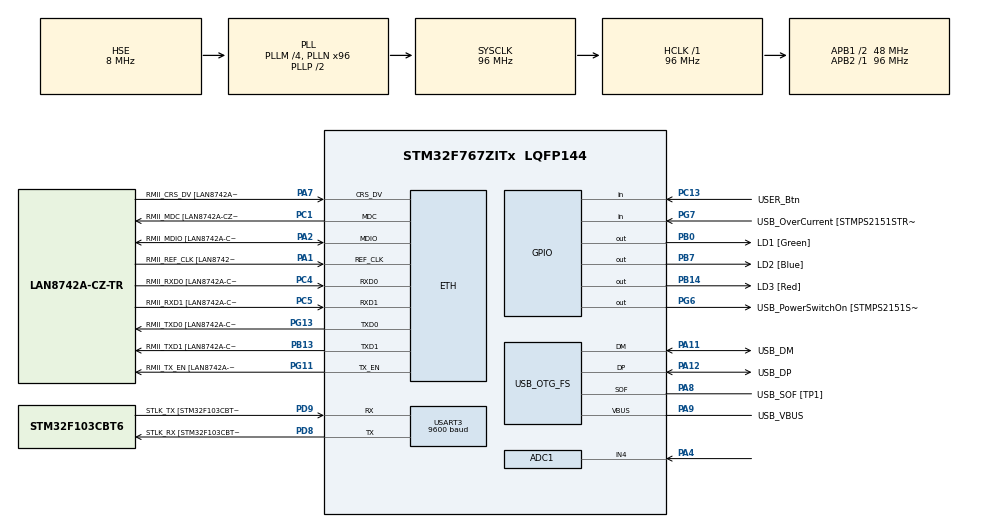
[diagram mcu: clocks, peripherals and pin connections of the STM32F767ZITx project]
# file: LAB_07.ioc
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ADC1.Channel-1\#ChannelRegularConversion=ADC_CHANNEL_4
ADC1.NbrOfConversionFlag=1
ADC1.Rank-1\#ChannelRegularConversion=1
ADC1.SamplingTime-1\#ChannelRegularConversion=ADC_SAMPLETIME_3CYCLES
ADC1.master=1
ETH.MediaInterface=HAL_ETH_RMII_MODE
ETH.PHY_Name=LAN8742A_PHY_ADDRESS
ETH.PHY_Value=0
ETH.PhyAddress=0
Mcu.Family=STM32F7
Mcu.Name=STM32F767ZITx
Mcu.Package=LQFP144
NVIC.PriorityGroup=NVIC_PRIORITYGROUP_4
PA1.GPIO_Label=RMII_REF_CLK [LAN8742A-CZ-TR_REFCLK0]
PA1.Mode=RMII
PA1.Signal=ETH_REF_CLK
PA10.GPIO_Label=USB_ID
PA10.Signal=USB_OTG_FS_ID
PA11.GPIO_Label=USB_DM
PA11.Mode=Device_Only
PA11.Signal=USB_OTG_FS_DM
PA12.GPIO_Label=USB_DP
PA12.Mode=Device_Only
PA12.Signal=USB_OTG_FS_DP
PA13.GPIO_Label=TMS
PA13.Mode=Serial_Wire
PA13.Signal=SYS_JTMS-SWDIO
PA14.GPIO_Label=TCK
PA14.Mode=Serial_Wire
PA14.Signal=SYS_JTCK-SWCLK
PA2.GPIO_Label=RMII_MDIO [LAN8742A-CZ-TR_MDIO]
PA2.Mode=RMII
PA2.Signal=ETH_MDIO
PA4.Signal=ADCx_IN4
PA7.GPIO_Label=RMII_CRS_DV [LAN8742A-CZ-TR_CRS_DV]
PA7.Mode=RMII
PA7.Signal=ETH_CRS_DV
PA8.GPIO_Label=USB_SOF [TP1]
PA8.Mode=Activate_SOF_FS
PA8.Signal=USB_OTG_FS_SOF
PA9.GPIO_Label=USB_VBUS
PA9.Mode=Activate_VBUS
PA9.Signal=USB_OTG_FS_VBUS
PB0.GPIO_Label=LD1 [Green]
PB0.Signal=GPIO_Output
PB13.GPIO_Label=RMII_TXD1 [LAN8742A-CZ-TR_TXD1]
PB13.Mode=RMII
PB13.Signal=ETH_TXD1
PB14.GPIO_Label=LD3 [Red]
PB14.Signal=GPIO_Output
PB3.GPIO_Label=SWO
PB3.Signal=SYS_JTDO-SWO
PB7.GPIO_Label=LD2 [Blue]
PB7.Signal=GPIO_Output
PC1.GPIO_Label=RMII_MDC [LAN8742A-CZ-TR_MDC]
PC1.Mode=RMII
PC1.Signal=ETH_MDC
PC13.GPIO_Label=USER_Btn
PC13.Signal=GPIO_Input
PC14/OSC32_IN.Mode=LSE-External-Oscillator
PC14/OSC32_IN.Signal=RCC_OSC32_IN
PC15/OSC32_OUT.Mode=LSE-External-Oscillator
PC15/OSC32_OUT.Signal=RCC_OSC32_OUT
PC4.GPIO_Label=RMII_RXD0 [LAN8742A-CZ-TR_RXD0]
PC4.Mode=RMII
PC4.Signal=ETH_RXD0
PC5.GPIO_Label=RMII_RXD1 [LAN8742A-CZ-TR_RXD1]
PC5.Mode=RMII
PC5.Signal=ETH_RXD1
PD8.GPIO_Label=STLK_RX [STM32F103CBT6_PA3]
PD8.Mode=Asynchronous
PD8.Signal=USART3_TX
PD9.GPIO_Label=STLK_TX [STM32F103CBT6_PA2]
PD9.Mode=Asynchronous
PD9.Signal=USART3_RX
PG11.GPIO_Label=RMII_TX_EN [LAN8742A-CZ-TR_TXEN]
PG11.Mode=RMII
PG11.Signal=ETH_TX_EN
PG13.GPIO_Label=RMII_TXD0 [LAN8742A-CZ-TR_TXD0]
PG13.Mode=RMII
PG13.Signal=ETH_TXD0
PG6.GPIO_Label=USB_PowerSwitchOn [STMPS2151STR_EN]
PG6.Signal=GPIO_Output
PG7.GPIO_Label=USB_OverCurrent [STMPS2151STR_FAULT]
PG7.Signal=GPIO_Input
PH0/OSC_IN.GPIO_Label=MCO [STM32F103CBT6_PA8]
PH0/OSC_IN.Mode=HSE-External-Clock-Source
PH0/OSC_IN.Signal=RCC_OSC_IN
PH1/OSC_OUT.Mode=HSE-External-Clock-Source
PH1/OSC_OUT.Signal=RCC_OSC_OUT
ProjectManager.HeapSize=0x200
ProjectManager.StackSize=0x400
ProjectManager.TargetToolchain=STM32CubeIDE
RCC.48MHZClocksFreq_Value=24000000
RCC.AHBFreq_Value=96000000
RCC.APB1CLKDivider=RCC_HCLK_DIV2
RCC.APB1Freq_Value=48000000
RCC.APB1TimFreq_Value=96000000
RCC.APB2Freq_Value=96000000
RCC.APB2TimFreq_Value=96000000
RCC.CortexFreq_Value=96000000
RCC.HCLKFreq_Value=96000000
RCC.HSE_VALUE=8000000
RCC.HSI_VALUE=16000000
RCC.PLLM=4
RCC.PLLMUL=RCC_PLL_MUL9
RCC.PLLN=96
RCC.PLLQ=4
RCC.PRESCALERUSB=RCC_USBCLKSOURCE_PLL_DIV1_5
RCC.SYSCLKFreq_VALUE=96000000
RCC.SYSCLKSource=RCC_SYSCLKSOURCE_PLLCLK
RCC.SYSCLKSourceVirtual=RCC_SYSCLKSOURCE_PLLCLK
RCC.USBFreq_Value=48000000
RCC.VCOOutputFreq_Value=192000000
SH.ADCx_IN4.0=ADC1_IN4,IN4
USART3.BaudRate=9600
USART3.VirtualMode-Asynchronous=VM_ASYNC
USB_OTG_FS.VirtualMode=Device_Only
board=NUCLEO-F767ZI

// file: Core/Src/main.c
/* USER CODE BEGIN Header */
/**
 ******************************************************************************
 * @file           : main.c
 * @brief          : Main program body
 ******************************************************************************
 * @attention
 *
 * Copyright (c) 2025 STMicroelectronics.
 * All rights reserved.
 *
 * This software is licensed under terms that can be found in the LICENSE file
 * in the root directory of this software component.
 * If no LICENSE file comes with this software, it is provided AS-IS.
 *
 ******************************************************************************
 */
/* USER CODE END Header */
#include "main.h"
#include "string.h"

/* USER CODE BEGIN Includes */

#include <math.h>

/* USER CODE END Includes */

#if defined ( __ICCARM__ ) /*!< IAR Compiler */
#pragma location=0x2007c000
ETH_DMADescTypeDef  DMARxDscrTab[ETH_RX_DESC_CNT]; /* Ethernet Rx DMA Descriptors */
#pragma location=0x2007c0a0
ETH_DMADescTypeDef  DMATxDscrTab[ETH_TX_DESC_CNT]; /* Ethernet Tx DMA Descriptors */

#elif defined ( __CC_ARM )  /* MDK ARM Compiler */

__attribute__((at(0x2007c000))) ETH_DMADescTypeDef  DMARxDscrTab[ETH_RX_DESC_CNT]; /* Ethernet Rx DMA Descriptors */
__attribute__((at(0x2007c0a0))) ETH_DMADescTypeDef  DMATxDscrTab[ETH_TX_DESC_CNT]; /* Ethernet Tx DMA Descriptors */

#elif defined ( __GNUC__ ) /* GNU Compiler */

ETH_DMADescTypeDef DMARxDscrTab[ETH_RX_DESC_CNT] __attribute__((section(".RxDecripSection"))); /* Ethernet Rx DMA Descriptors */
ETH_DMADescTypeDef DMATxDscrTab[ETH_TX_DESC_CNT] __attribute__((section(".TxDecripSection")));   /* Ethernet Tx DMA Descriptors */
#endif

ETH_TxPacketConfig TxConfig;

ADC_HandleTypeDef hadc1;

ETH_HandleTypeDef heth;

UART_HandleTypeDef huart3;

PCD_HandleTypeDef hpcd_USB_OTG_FS;

void SystemClock_Config(void);
static void MX_GPIO_Init(void);
static void MX_ETH_Init(void);
static void MX_USART3_UART_Init(void);
static void MX_USB_OTG_FS_PCD_Init(void);
static void MX_ADC1_Init(void);

/* USER CODE BEGIN 0 */

#define ZADANIE 1

GPIO_PinState USER_Btn_State = GPIO_PIN_RESET;
GPIO_PinState USER_Btn_StatePrev = GPIO_PIN_RESET;
GPIO_PinState LD1_State = GPIO_PIN_RESET;

uint32_t adc_raw = 0;
uint32_t adc_mV = 0;

uint32_t adc_raw1 = 0, adc_raw2 = 0;
uint32_t adc_mV1 = 0, adc_mV2 = 0;

void zad1() {

	HAL_ADC_Start(&hadc1);

	HAL_ADC_PollForConversion(&hadc1, HAL_MAX_DELAY);

	adc_raw = HAL_ADC_GetValue(&hadc1);

	adc_mV = (adc_raw * 3300) / 4095;

	HAL_Delay(5);
}

void zad2() {
	if (adc_mV <= 1000) {
		HAL_GPIO_WritePin(GPIOB, LD1_Pin, GPIO_PIN_RESET);
		HAL_GPIO_WritePin(GPIOB, LD2_Pin, GPIO_PIN_RESET);
		HAL_GPIO_WritePin(GPIOB, LD3_Pin, GPIO_PIN_RESET);
	} else if (adc_mV > 1000 && adc_mV <= 2000) {
		HAL_GPIO_WritePin(GPIOB, LD1_Pin, GPIO_PIN_SET);
		HAL_GPIO_WritePin(GPIOB, LD2_Pin, GPIO_PIN_RESET);
		HAL_GPIO_WritePin(GPIOB, LD3_Pin, GPIO_PIN_RESET);
	} else if (adc_mV > 2000 && adc_mV <= 3000) {
		HAL_GPIO_WritePin(GPIOB, LD1_Pin, GPIO_PIN_SET);
		HAL_GPIO_WritePin(GPIOB, LD2_Pin, GPIO_PIN_SET);
		HAL_GPIO_WritePin(GPIOB, LD3_Pin, GPIO_PIN_RESET);
	} else if (adc_mV > 3000) {
		HAL_GPIO_WritePin(GPIOB, LD1_Pin, GPIO_PIN_SET);
		HAL_GPIO_WritePin(GPIOB, LD2_Pin, GPIO_PIN_SET);
		HAL_GPIO_WritePin(GPIOB, LD3_Pin, GPIO_PIN_SET);
	}
}

void zad4() {
	// kanał 3
	HAL_ADC_Start(&hadc1);
	HAL_ADC_PollForConversion(&hadc1, HAL_MAX_DELAY);
	adc_raw1 = HAL_ADC_GetValue(&hadc1);
	adc_mV1 = (adc_raw1 * 3300) / 4095;
	HAL_ADC_Stop(&hadc1);

	// kanał 4
	HAL_ADC_Start(&hadc1);
	HAL_ADC_PollForConversion(&hadc1, HAL_MAX_DELAY);
	adc_raw2 = HAL_ADC_GetValue(&hadc1);
	adc_mV2 = (adc_raw2 * 3300) / 4095;
	HAL_ADC_Stop(&hadc1);
}

float R5 = 5000; //5k ohm
float RLDR;
float ldr_gamma = 0.5;
float lux;

void zad5() {

	HAL_ADC_Start(&hadc1);

	HAL_ADC_PollForConversion(&hadc1, HAL_MAX_DELAY);

	adc_raw = HAL_ADC_GetValue(&hadc1);

	adc_mV = (adc_raw * 3300) / 4095;

	float adc_mV_unscaled = adc_mV / 1.5;

	RLDR = R5 * (adc_mV_unscaled) / (3300 - adc_mV_unscaled);

	lux = (10.0f * pow(7500.0f, 1.0f / ldr_gamma)) / pow(RLDR, 1.0f / ldr_gamma);

//	HAL_Delay(5);

}

float lux_avg;
float adc_avg;
float sum;
//int n = 1000;
float adc_mV_avg;

//void zad5_goat() {
//
//	for (int i = 0; i < n; i++) {
//		HAL_ADC_Start(&hadc1);
//
//		HAL_ADC_PollForConversion(&hadc1, HAL_MAX_DELAY);
//
//		adc_raw = HAL_ADC_GetValue(&hadc1);
//
//		sum += adc_raw;
//
//	}
//
//	adc_avg = sum / n;
//	sum = 0;
//
//	adc_mV_avg = (adc_avg * 3300) / 4095;
//
//	float adc_mV_unscaled = adc_mV_avg / 1.5;
//
//	RLDR = R5 * (adc_mV_unscaled) / (3300 - adc_mV_unscaled);
//
//	lux_avg = (10.0f * pow(7500.0f, 1.0f / ldr_gamma)) / pow(RLDR, 1.0f / ldr_gamma);
//
////	HAL_Delay(5);
//
//}

int n = 100;

void zad5_goat() {

	float adc_samples[n];
	for (int i = 0; i < n; i++) {
		HAL_ADC_Start(&hadc1);
		HAL_ADC_PollForConversion(&hadc1, HAL_MAX_DELAY);
		adc_samples[i] = HAL_ADC_GetValue(&hadc1);
	}

	for (int i = 0; i < n - 1; i++)
		for (int j = i + 1; j < n; j++)
			if (adc_samples[i] > adc_samples[j]) {
				float tmp = adc_samples[i];
				adc_samples[i] = adc_samples[j];
				adc_samples[j] = tmp;
			}

	float adc_avg = adc_samples[n / 50];

	adc_mV_avg = (adc_avg * 3300) / 4095;

	float adc_mV_unscaled = adc_mV_avg / 1.5;

	RLDR = R5 * (adc_mV_unscaled) / (3300 - adc_mV_unscaled);

	lux_avg = (10.0f * pow(7500.0f, 1.0f / ldr_gamma)) / pow(RLDR, 1.0f / ldr_gamma);

}

/* USER CODE END 0 */

int main(void)
{

  /* MCU Configuration--------------------------------------------------------*/

  /* Reset of all peripherals, Initializes the Flash interface and the Systick. */
  HAL_Init();

  /* Configure the system clock */
  SystemClock_Config();

  /* Initialize all configured peripherals */
  MX_GPIO_Init();
  MX_ETH_Init();
  MX_USART3_UART_Init();
  MX_USB_OTG_FS_PCD_Init();
  MX_ADC1_Init();

  /* Infinite loop */
  /* USER CODE BEGIN WHILE */

	while (1) {
//		HAL_Delay(10);
//		HAL_UART_Transmit(&huart3, "test", strlen("test"), HAL_MAX_DELAY);
#if ZADANIE == 1
		zad1();
#endif

#if ZADANIE == 2
		zad1();
		zad2();
#endif

#if ZADANIE == 3
		USER_Btn_State = HAL_GPIO_ReadPin(USER_Btn_GPIO_Port, USER_Btn_Pin);
		if ((USER_Btn_State == GPIO_PIN_SET) && (USER_Btn_StatePrev == GPIO_PIN_RESET)) {
			zad1();

			char txBuffer[20];

			sprintf(txBuffer, "%lu\r\n", adc_mV);
			HAL_UART_Transmit(&huart3, txBuffer, strlen(txBuffer), HAL_MAX_DELAY);
		}
		USER_Btn_StatePrev = USER_Btn_State;
		HAL_Delay(10);
#endif
#if ZADANIE == 4
		zad4();
#endif
#if ZADANIE == 5
		zad5();
		zad5_goat();
#endif
	}

    /* USER CODE END WHILE */

}

void SystemClock_Config(void)
{
  RCC_OscInitTypeDef RCC_OscInitStruct = {0};
  RCC_ClkInitTypeDef RCC_ClkInitStruct = {0};

  /** Configure LSE Drive Capability
  */
  HAL_PWR_EnableBkUpAccess();

  /** Configure the main internal regulator output voltage
  */
  __HAL_RCC_PWR_CLK_ENABLE();
  __HAL_PWR_VOLTAGESCALING_CONFIG(PWR_REGULATOR_VOLTAGE_SCALE3);

  /** Initializes the RCC Oscillators according to the specified parameters
  * in the RCC_OscInitTypeDef structure.
  */
  RCC_OscInitStruct.OscillatorType = RCC_OSCILLATORTYPE_HSE;
  RCC_OscInitStruct.HSEState = RCC_HSE_BYPASS;
  RCC_OscInitStruct.PLL.PLLState = RCC_PLL_ON;
  RCC_OscInitStruct.PLL.PLLSource = RCC_PLLSOURCE_HSE;
  RCC_OscInitStruct.PLL.PLLM = 4;
  RCC_OscInitStruct.PLL.PLLN = 96;
  RCC_OscInitStruct.PLL.PLLP = RCC_PLLP_DIV2;
  RCC_OscInitStruct.PLL.PLLQ = 4;
  RCC_OscInitStruct.PLL.PLLR = 2;
  if (HAL_RCC_OscConfig(&RCC_OscInitStruct) != HAL_OK)
  {
    Error_Handler();
  }

  /** Activate the Over-Drive mode
  */
  if (HAL_PWREx_EnableOverDrive() != HAL_OK)
  {
    Error_Handler();
  }

  /** Initializes the CPU, AHB and APB buses clocks
  */
  RCC_ClkInitStruct.ClockType = RCC_CLOCKTYPE_HCLK|RCC_CLOCKTYPE_SYSCLK
                              |RCC_CLOCKTYPE_PCLK1|RCC_CLOCKTYPE_PCLK2;
  RCC_ClkInitStruct.SYSCLKSource = RCC_SYSCLKSOURCE_PLLCLK;
  RCC_ClkInitStruct.AHBCLKDivider = RCC_SYSCLK_DIV1;
  RCC_ClkInitStruct.APB1CLKDivider = RCC_HCLK_DIV2;
  RCC_ClkInitStruct.APB2CLKDivider = RCC_HCLK_DIV1;

  if (HAL_RCC_ClockConfig(&RCC_ClkInitStruct, FLASH_LATENCY_3) != HAL_OK)
  {
    Error_Handler();
  }
}

static void MX_ADC1_Init(void)
{

  ADC_ChannelConfTypeDef sConfig = {0};

  /** Configure the global features of the ADC (Clock, Resolution, Data Alignment and number of conversion)
  */
  hadc1.Instance = ADC1;
  hadc1.Init.ClockPrescaler = ADC_CLOCK_SYNC_PCLK_DIV4;
  hadc1.Init.Resolution = ADC_RESOLUTION_12B;
  hadc1.Init.ScanConvMode = ADC_SCAN_DISABLE;
  hadc1.Init.ContinuousConvMode = DISABLE;
  hadc1.Init.DiscontinuousConvMode = DISABLE;
  hadc1.Init.ExternalTrigConvEdge = ADC_EXTERNALTRIGCONVEDGE_NONE;
  hadc1.Init.ExternalTrigConv = ADC_SOFTWARE_START;
  hadc1.Init.DataAlign = ADC_DATAALIGN_RIGHT;
  hadc1.Init.NbrOfConversion = 1;
  hadc1.Init.DMAContinuousRequests = DISABLE;
  hadc1.Init.EOCSelection = ADC_EOC_SINGLE_CONV;
  if (HAL_ADC_Init(&hadc1) != HAL_OK)
  {
    Error_Handler();
  }

  /** Configure for the selected ADC regular channel its corresponding rank in the sequencer and its sample time.
  */
  sConfig.Channel = ADC_CHANNEL_4;
  sConfig.Rank = ADC_REGULAR_RANK_1;
  sConfig.SamplingTime = ADC_SAMPLETIME_3CYCLES;
  if (HAL_ADC_ConfigChannel(&hadc1, &sConfig) != HAL_OK)
  {
    Error_Handler();
  }

}

static void MX_ETH_Init(void)
{

   static uint8_t MACAddr[6];

  heth.Instance = ETH;
  MACAddr[0] = 0x00;
  MACAddr[1] = 0x80;
  MACAddr[2] = 0xE1;
  MACAddr[3] = 0x00;
  MACAddr[4] = 0x00;
  MACAddr[5] = 0x00;
  heth.Init.MACAddr = &MACAddr[0];
  heth.Init.MediaInterface = HAL_ETH_RMII_MODE;
  heth.Init.TxDesc = DMATxDscrTab;
  heth.Init.RxDesc = DMARxDscrTab;
  heth.Init.RxBuffLen = 1524;

  if (HAL_ETH_Init(&heth) != HAL_OK)
  {
    Error_Handler();
  }

  memset(&TxConfig, 0 , sizeof(ETH_TxPacketConfig));
  TxConfig.Attributes = ETH_TX_PACKETS_FEATURES_CSUM | ETH_TX_PACKETS_FEATURES_CRCPAD;
  TxConfig.ChecksumCtrl = ETH_CHECKSUM_IPHDR_PAYLOAD_INSERT_PHDR_CALC;
  TxConfig.CRCPadCtrl = ETH_CRC_PAD_INSERT;

}

static void MX_USART3_UART_Init(void)
{

  huart3.Instance = USART3;
  huart3.Init.BaudRate = 9600;
  huart3.Init.WordLength = UART_WORDLENGTH_8B;
  huart3.Init.StopBits = UART_STOPBITS_1;
  huart3.Init.Parity = UART_PARITY_NONE;
  huart3.Init.Mode = UART_MODE_TX_RX;
  huart3.Init.HwFlowCtl = UART_HWCONTROL_NONE;
  huart3.Init.OverSampling = UART_OVERSAMPLING_16;
  huart3.Init.OneBitSampling = UART_ONE_BIT_SAMPLE_DISABLE;
  huart3.AdvancedInit.AdvFeatureInit = UART_ADVFEATURE_NO_INIT;
  if (HAL_UART_Init(&huart3) != HAL_OK)
  {
    Error_Handler();
  }

}

static void MX_USB_OTG_FS_PCD_Init(void)
{

  hpcd_USB_OTG_FS.Instance = USB_OTG_FS;
  hpcd_USB_OTG_FS.Init.dev_endpoints = 6;
  hpcd_USB_OTG_FS.Init.speed = PCD_SPEED_FULL;
  hpcd_USB_OTG_FS.Init.dma_enable = DISABLE;
  hpcd_USB_OTG_FS.Init.phy_itface = PCD_PHY_EMBEDDED;
  hpcd_USB_OTG_FS.Init.Sof_enable = ENABLE;
  hpcd_USB_OTG_FS.Init.low_power_enable = DISABLE;
  hpcd_USB_OTG_FS.Init.lpm_enable = DISABLE;
  hpcd_USB_OTG_FS.Init.vbus_sensing_enable = ENABLE;
  hpcd_USB_OTG_FS.Init.use_dedicated_ep1 = DISABLE;
  if (HAL_PCD_Init(&hpcd_USB_OTG_FS) != HAL_OK)
  {
    Error_Handler();
  }

}

static void MX_GPIO_Init(void)
{
  GPIO_InitTypeDef GPIO_InitStruct = {0};

  /* GPIO Ports Clock Enable */
  __HAL_RCC_GPIOC_CLK_ENABLE();
  __HAL_RCC_GPIOH_CLK_ENABLE();
  __HAL_RCC_GPIOA_CLK_ENABLE();
  __HAL_RCC_GPIOB_CLK_ENABLE();
  __HAL_RCC_GPIOD_CLK_ENABLE();
  __HAL_RCC_GPIOG_CLK_ENABLE();

  /*Configure GPIO pin Output Level */
  HAL_GPIO_WritePin(GPIOB, LD1_Pin|LD3_Pin|LD2_Pin, GPIO_PIN_RESET);

  /*Configure GPIO pin Output Level */
  HAL_GPIO_WritePin(USB_PowerSwitchOn_GPIO_Port, USB_PowerSwitchOn_Pin, GPIO_PIN_RESET);

  /*Configure GPIO pin : USER_Btn_Pin */
  GPIO_InitStruct.Pin = USER_Btn_Pin;
  GPIO_InitStruct.Mode = GPIO_MODE_INPUT;
  GPIO_InitStruct.Pull = GPIO_NOPULL;
  HAL_GPIO_Init(USER_Btn_GPIO_Port, &GPIO_InitStruct);

  /*Configure GPIO pins : LD1_Pin LD3_Pin LD2_Pin */
  GPIO_InitStruct.Pin = LD1_Pin|LD3_Pin|LD2_Pin;
  GPIO_InitStruct.Mode = GPIO_MODE_OUTPUT_PP;
  GPIO_InitStruct.Pull = GPIO_NOPULL;
  GPIO_InitStruct.Speed = GPIO_SPEED_FREQ_LOW;
  HAL_GPIO_Init(GPIOB, &GPIO_InitStruct);

  /*Configure GPIO pin : USB_PowerSwitchOn_Pin */
  GPIO_InitStruct.Pin = USB_PowerSwitchOn_Pin;
  GPIO_InitStruct.Mode = GPIO_MODE_OUTPUT_PP;
  GPIO_InitStruct.Pull = GPIO_NOPULL;
  GPIO_InitStruct.Speed = GPIO_SPEED_FREQ_LOW;
  HAL_GPIO_Init(USB_PowerSwitchOn_GPIO_Port, &GPIO_InitStruct);

  /*Configure GPIO pin : USB_OverCurrent_Pin */
  GPIO_InitStruct.Pin = USB_OverCurrent_Pin;
  GPIO_InitStruct.Mode = GPIO_MODE_INPUT;
  GPIO_InitStruct.Pull = GPIO_NOPULL;
  HAL_GPIO_Init(USB_OverCurrent_GPIO_Port, &GPIO_InitStruct);

}

void Error_Handler(void)
{
	__disable_irq();
	while (1) {
	}
}
